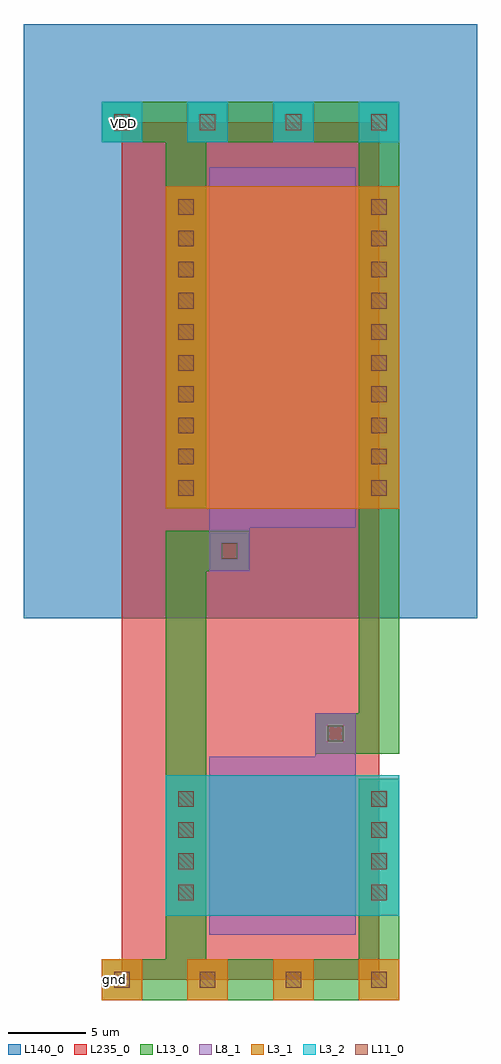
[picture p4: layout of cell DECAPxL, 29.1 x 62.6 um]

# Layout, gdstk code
import gdstk
lib = gdstk.Library(unit=1e-6, precision=1e-09)
def R(c, l, rs):  # rectangles x0, y0, x1, y1
    for r in rs: c.add(gdstk.rectangle(r[:2], r[2:], *l))
def A(c, l, x, y, w, h, nx, ny, dx, dy):  # array of equal rectangles
    R(c, l, [(x+i*dx, y+j*dy, x+i*dx+w, y+j*dy+h) for i in range(nx) for j in range(ny)])
L3_1 = (3, 1)
L3_2 = (3, 2)
L8_1 = (8, 1)
L11_0 = (11, 0)
L13_0 = (13, 0)
L140_0 = (140, 0)
L235_0 = (235, 0)

cont_n_6 = lib.new_cell('cont_n$6')
R(cont_n_6, L3_2, [(-1.3,-1.3,1.3,1.3)])
R(cont_n_6, L11_0, [(-0.5,-0.5,0.5,0.5)])
R(cont_n_6, L13_0, [(-1.3,-1.3,1.3,1.3)])

cont_p_6 = lib.new_cell('cont_p$6')
R(cont_p_6, L3_1, [(-1.3,-1.3,1.3,1.3)])
R(cont_p_6, L11_0, [(-0.5,-0.5,0.5,0.5)])
R(cont_p_6, L13_0, [(-1.3,-1.3,1.3,1.3)])

fet_p_1_1 = lib.new_cell('fet_p$1$1')
R(fet_p_1_1, L3_1, [(-7.5,-10.35,7.5,10.35)])
A(fet_p_1_1, L11_0, -6.7, -9.5, 1, 1, 1, 10, 0, 2)
A(fet_p_1_1, L11_0, 5.7, -9.5, 1, 1, 1, 10, 0, 2)
R(fet_p_1_1, L13_0, [(-7.5,-10.3,-4.9,10.3), (4.9,-10.3,7.5,10.3)])
fet_p_1_1.add(gdstk.FlexPath([(0,-11.55),(0,11.55)], 9.4, ends="flush", simple_path=True, layer=8, datatype=1))  # L8_1

cont_g_5 = lib.new_cell('cont_g$5')
R(cont_g_5, L8_1, [(-1.3,-1.3,1.3,1.3)])
R(cont_g_5, L11_0, [(-0.5,-0.5,0.5,0.5)])
R(cont_g_5, L13_0, [(-1.3,-1.3,1.3,1.3)])

fet_n = lib.new_cell('fet_n')
R(fet_n, L3_2, [(-7.5,-4.5,7.5,4.5)])
A(fet_n, L11_0, -6.7, -3.5, 1, 1, 1, 4, 0, 2)
A(fet_n, L11_0, 5.7, -3.5, 1, 1, 1, 4, 0, 2)
R(fet_n, L13_0, [(-7.5,-4.3,-4.9,4.3), (4.9,-4.3,7.5,4.3)])
fet_n.add(gdstk.FlexPath([(0,-5.7),(0,5.7)], 9.4, ends="flush", simple_path=True, layer=8, datatype=1))  # L8_1

decapxl = lib.new_cell('DECAPxL')
R(decapxl, L8_1, [(12.9,14.3,15.5,14.5), (6.1,28.8,8.7,29)])
R(decapxl, L140_0, [(-5.8,23.2,23.3,61.3)])
R(decapxl, L235_0, [(0.5,0,17,55)])
decapxl.add(gdstk.FlexPath([(17,5.6),(17,0)], 2.6, ends="extended", simple_path=True, layer=13, datatype=0))  # L13_0
decapxl.add(gdstk.FlexPath([(4.6,49.547),(4.6,54.997)], 2.6, ends="extended", simple_path=True, layer=13, datatype=0))  # L13_0
decapxl.add(gdstk.FlexPath([(4.6,5.6),(4.6,0)], 2.6, ends="extended", simple_path=True, layer=13, datatype=0))  # L13_0
decapxl.add(gdstk.FlexPath([(17,49.55),(17,55)], 2.6, ends="extended", simple_path=True, layer=13, datatype=0))  # L13_0
decapxl.add(gdstk.FlexPath([(14.2,15.8),(17,15.8),(17,31.5)], 2.6, ends="extended", simple_path=True, layer=13, datatype=0))  # L13_0
decapxl.add(gdstk.FlexPath([(7.4,27.5),(4.6,27.5),(4.6,11.7)], 2.6, ends="extended", simple_path=True, layer=13, datatype=0))  # L13_0
decapxl.add(gdstk.FlexPath([(0.5,55),(17,55)], 2.6, ends="extended", simple_path=True, layer=13, datatype=0))  # L13_0
decapxl.add(gdstk.FlexPath([(0.5,0),(17,0)], 2.6, ends="extended", simple_path=True, layer=13, datatype=0))  # L13_0
decapxl.add(gdstk.Reference(cont_n_6, (0.5,55)))
decapxl.add(gdstk.Reference(cont_n_6, (6,55)))
decapxl.add(gdstk.Reference(cont_n_6, (11.5,55)))
decapxl.add(gdstk.Reference(cont_n_6, (17,55)))
decapxl.add(gdstk.Reference(cont_p_6, (0.5,0)))
decapxl.add(gdstk.Reference(cont_p_6, (6,0)))
decapxl.add(gdstk.Reference(cont_p_6, (11.5,0)))
decapxl.add(gdstk.Reference(cont_p_6, (17,0)))
decapxl.add(gdstk.Reference(fet_p_1_1, (10.8,40.55)))
decapxl.add(gdstk.Reference(cont_g_5, (14.2,15.8)))
decapxl.add(gdstk.Reference(cont_g_5, (7.4,27.5)))
decapxl.add(gdstk.Reference(fet_n, (10.8,8.6)))
decapxl.add(gdstk.Label('VDD', (0.6,54.9), layer=48, texttype=0))
decapxl.add(gdstk.Label('gnd', (0,0), layer=48, texttype=0))

lib.write_gds('DECAPxL.gds')
